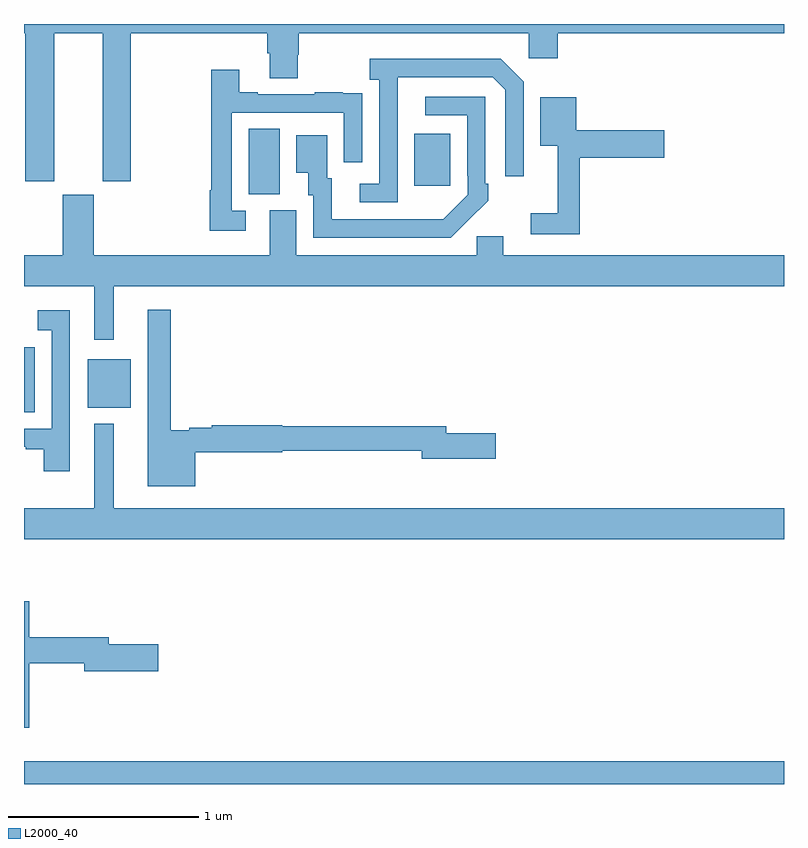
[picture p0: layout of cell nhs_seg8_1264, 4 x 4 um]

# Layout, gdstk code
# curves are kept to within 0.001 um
import gdstk
lib = gdstk.Library(unit=1e-6, precision=1e-09)
def R(c, l, rs):  # rectangles x0, y0, x1, y1
    for r in rs: c.add(gdstk.rectangle(r[:2], r[2:], *l))
def P(c, l, *ps):  # polygons
    for p in ps: c.add(gdstk.Polygon(p, *l))
L2000_40 = (2000, 40)

nhs_seg8_1264 = lib.new_cell('nhs_seg8_1264')
R(nhs_seg8_1264, L2000_40, [(191,1093.9,195,1094.02), (191,1095.856,191.056,1096.2), (191.336,1095.881,191.563,1096.135), (192.182,1097.005,192.346,1097.348), (193.055,1097.049,193.243,1097.323)])
P(nhs_seg8_1264, L2000_40, [(191.158,1097.852),(191.414,1097.852),(191.414,1097.073),(191.562,1097.073),(191.562,1097.852),(192.281,1097.852),(192.281,1097.746),(192.293,1097.746),(192.293,1097.614),(192.441,1097.614),(192.441,1097.739),(192.446,1097.739),(192.446,1097.852),(193.656,1097.852),(193.656,1097.721),(193.808,1097.721),(193.808,1097.852),(195,1097.852),(195,1097.9),(191,1097.9),(191,1097.852),(191.006,1097.852),(191.006,1097.073),(191.158,1097.073)],
  [(192.966,1097.419),(192.967,1097.619),(193.467,1097.619),(193.533,1097.553),(193.533,1097.1),(193.629,1097.1),(193.629,1097.595),(193.508,1097.716),(192.819,1097.716),(192.819,1097.606),(192.87,1097.606),(192.87,1097.058),(192.768,1097.058),(192.768,1096.962),(192.966,1096.962)],
  [(192.166,1096.917),(192.093,1096.917),(192.093,1097.433),(192.684,1097.433),(192.684,1097.172),(192.78,1097.172),(192.78,1097.426),(192.779,1097.426),(192.779,1097.535),(192.677,1097.535),(192.677,1097.542),(192.529,1097.542),(192.529,1097.529),(192.229,1097.529),(192.229,1097.542),(192.133,1097.542),(192.133,1097.659),(191.985,1097.659),(191.985,1097.024),(191.977,1097.024),(191.977,1096.812),(192.166,1096.812)],
  [(193.337,1096.867),(193.338,1096.866),(193.443,1096.971),(193.443,1097.059),(193.428,1097.059),(193.428,1097.517),(193.113,1097.517),(193.113,1097.421),(193.332,1097.421),(193.332,1097.101),(193.335,1097.101),(193.335,1097.001),(193.207,1096.873),(192.619,1096.872),(192.619,1097.088),(192.595,1097.088),(192.595,1097.314),(192.434,1097.314),(192.434,1097.117),(192.497,1097.117),(192.497,1096.998),(192.522,1096.998),(192.522,1096.776),(193.246,1096.776)],
  [(193.925,1097.195),(194.371,1097.195),(194.371,1097.342),(193.906,1097.342),(193.906,1097.515),(193.718,1097.515),(193.718,1097.258),(193.808,1097.258),(193.808,1096.903),(193.668,1096.903),(193.668,1096.794),(193.925,1096.794)],
  [(191.473,1096.52),(195,1096.52),(195,1096.684),(193.522,1096.684),(193.522,1096.782),(193.383,1096.782),(193.383,1096.684),(192.433,1096.684),(192.433,1096.92),(192.293,1096.92),(192.293,1096.684),(191.368,1096.684),(191.368,1097.001),(191.204,1097.001),(191.204,1096.684),(191,1096.684),(191,1096.52),(191.369,1096.52),(191.369,1096.239),(191.473,1096.239)],
  [(191.902,1095.646),(192.36,1095.646),(192.36,1095.654),(193.094,1095.654),(193.094,1095.611),(193.483,1095.611),(193.483,1095.746),(193.222,1095.746),(193.222,1095.782),(192.36,1095.782),(192.36,1095.788),(191.988,1095.788),(191.988,1095.776),(191.87,1095.776),(191.87,1095.763),(191.773,1095.763),(191.773,1096.396),(191.651,1096.396),(191.651,1095.467),(191.902,1095.467)],
  [(191.241,1096.393),(191.073,1096.393),(191.073,1096.287),(191.145,1096.287),(191.145,1095.771),(191,1095.771),(191,1095.675),(191.009,1095.675),(191.009,1095.663),(191.105,1095.663),(191.105,1095.546),(191.241,1095.546)],
  [(195,1095.352),(191.473,1095.352),(191.473,1095.796),(191.369,1095.796),(191.369,1095.352),(191,1095.352),(191,1095.188),(195,1095.188)],
  [(191.027,1094.536),(191.318,1094.536),(191.318,1094.494),(191.707,1094.494),(191.707,1094.636),(191.446,1094.636),(191.446,1094.672),(191.027,1094.672),(191.027,1094.863),(191,1094.863),(191,1094.196),(191.027,1094.196)])

lib.write_gds('nhs_seg8_1264.gds')
